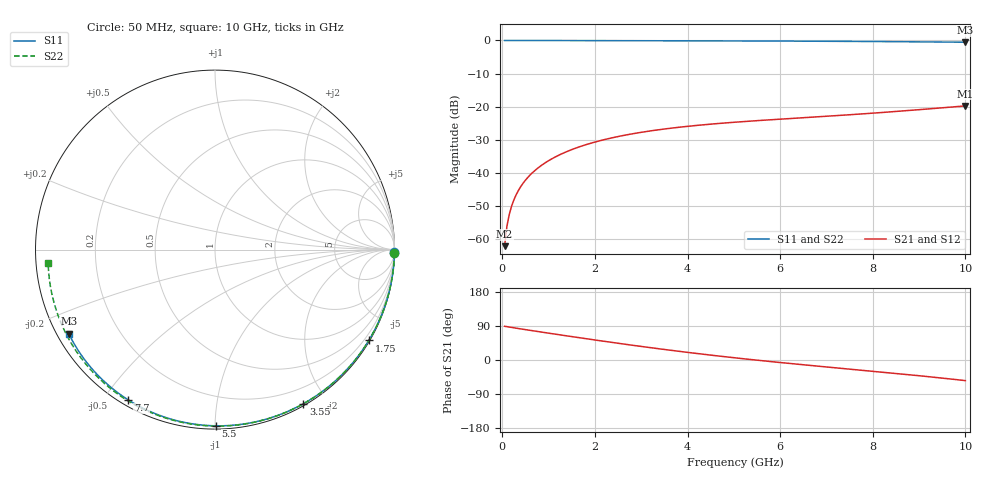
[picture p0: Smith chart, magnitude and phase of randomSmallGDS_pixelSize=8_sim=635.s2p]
! freq	dB(S11)	phase(S11)	dB(S12)	phase(S12)
!  dB(S21)	phase(S21)	dB(S22)	phase(S22)
!S-par simulation data
#  GHz  S  DB  R 50
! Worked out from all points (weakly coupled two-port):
!   200 points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, 50 MHz to 10 GHz, reference 50 ohm
!   highest |S21| = -19.74 dB at 10 GHz (marker M1); lowest = -62.0 dB at 50 MHz (marker M2)
!   lowest |S11| = -0.5 dB at 10 GHz (marker M3), VSWR 32.26, Z = 1.66 - j13.3 ohm
!   |S11| at or under -10 dB: nowhere
!   |S22| runs from -0.6 to 0.0 dB; largest |S21 - S12| = 0
!   S11 on the Smith chart (normalised r, x): 50 MHz: open; 1.75 GHz: 0.03, -3.66; 3.55 GHz: 0.02, -1.72; 5.5 GHz: 0.02, -1.01; 7.7 GHz: 0.02, -0.58; 10 GHz: 0.03, -0.27
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0.05  -0.00 -0.9  -62.03 89.0  -62.03 89.0  -0.00 -1.0
0.1  -0.00 -1.8  -56.02 87.9  -56.02 87.9  -0.00 -2.0
0.15  -0.00 -2.7  -52.50 86.9  -52.50 86.9  -0.00 -3.1
0.2  -0.00 -3.6  -50.01 85.9  -50.01 85.9  -0.00 -4.1
0.25  -0.00 -4.4  -48.09 84.9  -48.09 84.9  -0.00 -5.1
0.35  -0.00 -6.2  -45.19 83.0  -45.19 83.0  -0.01 -7.1
0.5  -0.01 -8.9  -42.13 80.1  -42.13 80.1  -0.01 -10.2
0.7  -0.01 -12.4  -39.26 76.4  -39.26 76.4  -0.02 -14.2
1  -0.02 -17.6  -36.25 70.8  -36.25 70.8  -0.03 -20.2
1.35  -0.03 -23.7  -33.77 64.4  -33.77 64.4  -0.04 -27.1
1.75  -0.04 -30.6  -31.68 57.2  -31.68 57.2  -0.05 -34.9
2.6  -0.06 -44.8  -28.69 42.4  -28.69 42.4  -0.07 -51.2
3.4  -0.08 -57.8  -26.88 29.3  -26.88 29.3  -0.10 -66.0
3.55  -0.09 -60.2  -26.61 27.0  -26.61 27.0  -0.10 -68.7
4.3  -0.11 -71.9  -25.48 15.8  -25.48 15.8  -0.13 -81.9
5.05  -0.14 -83.1  -24.62 5.4  -24.62 5.4  -0.16 -94.7
5.5  -0.16 -89.7  -24.18 -0.5  -24.18 -0.5  -0.18 -102.2
6.7  -0.22 -106.5  -23.12 -14.9  -23.12 -14.9  -0.25 -121.6
7.7  -0.29 -120.0  -22.22 -26.2  -22.22 -26.2  -0.33 -137.5
8.35  -0.35 -128.5  -21.57 -33.7  -21.57 -33.7  -0.40 -147.9
9.2  -0.44 -139.6  -20.65 -44.0  -20.65 -44.0  -0.50 -161.7
10  -0.54 -150.1  -19.74 -54.4  -19.74 -54.4  -0.61 -175.3
